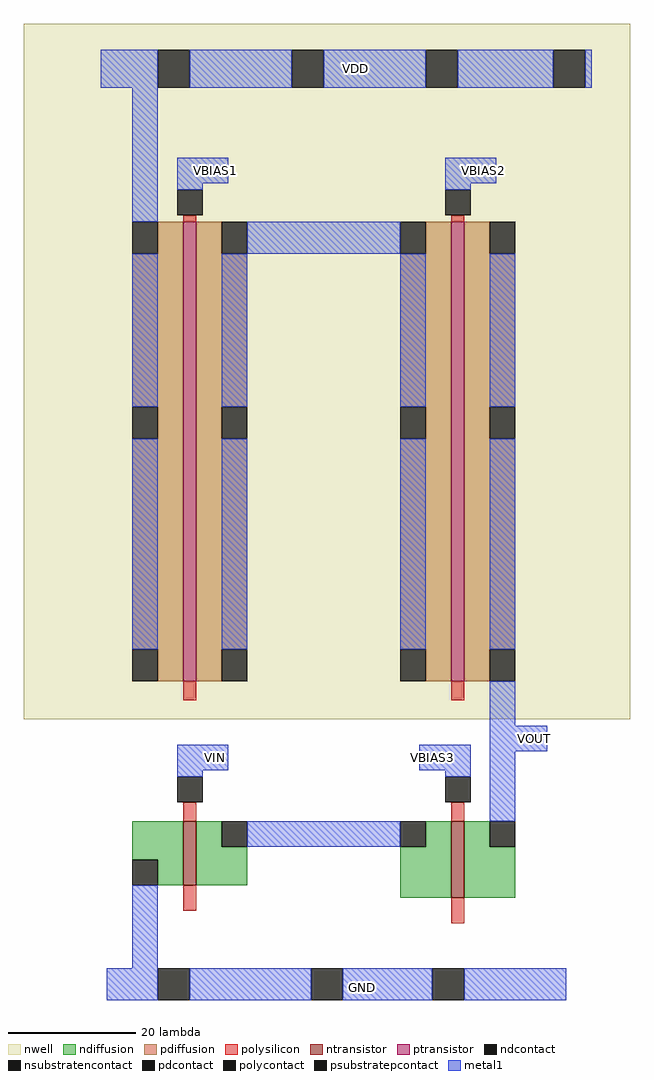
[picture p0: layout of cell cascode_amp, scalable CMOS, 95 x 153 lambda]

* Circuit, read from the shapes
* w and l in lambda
.subckt cascode_amp GND VBIAS1 VBIAS2 VBIAS3 VDD VIN VOUT
M1 n1 VIN GND GND nfet w=10 l=2
M2 VOUT VBIAS3 n1 GND nfet w=12 l=2
M3 n2 VBIAS1 VDD VDD pfet w=72 l=2
M4 VOUT VBIAS2 n2 VDD pfet w=72 l=2
.ends

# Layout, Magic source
magic
tech scmos
<< nwell >>
rect -17 -78 78 31
<< ntransistor >>
rect 8 -104 10 -94
rect 50 -106 52 -94
<< ptransistor >>
rect 8 -72 10 0
rect 50 -72 52 0
<< ndiffusion >>
rect 0 -100 8 -94
rect 4 -104 8 -100
rect 10 -98 14 -94
rect 10 -104 18 -98
rect 46 -98 50 -94
rect 42 -106 50 -98
rect 52 -98 56 -94
rect 52 -106 60 -98
<< pdiffusion >>
rect 4 -5 8 0
rect 0 -29 8 -5
rect 4 -34 8 -29
rect 0 -67 8 -34
rect 4 -72 8 -67
rect 10 -5 14 0
rect 10 -29 18 -5
rect 10 -34 14 -29
rect 10 -67 18 -34
rect 10 -72 14 -67
rect 46 -5 50 0
rect 42 -29 50 -5
rect 46 -34 50 -29
rect 42 -67 50 -34
rect 46 -72 50 -67
rect 52 -5 56 0
rect 52 -29 60 -5
rect 52 -34 56 -29
rect 52 -67 60 -34
rect 52 -72 56 -67
<< ndcontact >>
rect 0 -104 4 -100
rect 14 -98 18 -94
rect 42 -98 46 -94
rect 56 -98 60 -94
<< pdcontact >>
rect 0 -5 4 0
rect 0 -34 4 -29
rect 0 -72 4 -67
rect 14 -5 18 0
rect 14 -34 18 -29
rect 14 -72 18 -67
rect 42 -5 46 0
rect 42 -34 46 -29
rect 42 -72 46 -67
rect 56 -5 60 0
rect 56 -34 60 -29
rect 56 -72 60 -67
<< psubstratepcontact >>
rect 4 -122 9 -117
rect 28 -122 33 -117
rect 47 -122 52 -117
<< nsubstratencontact >>
rect 4 21 9 27
rect 25 21 30 27
rect 46 21 51 27
rect 66 21 71 27
<< polysilicon >>
rect 8 0 10 1
rect 50 0 52 1
rect 8 -75 10 -72
rect 50 -75 52 -72
rect 8 -94 10 -91
rect 50 -94 52 -91
rect 8 -108 10 -104
rect 50 -110 52 -106
<< polycontact >>
rect 7 1 11 5
rect 49 1 53 5
rect 7 -91 11 -87
rect 49 -91 53 -87
<< metal1 >>
rect -5 21 4 27
rect 9 21 25 27
rect 30 21 46 27
rect 51 21 66 27
rect 71 21 72 27
rect 0 0 4 21
rect 7 6 15 10
rect 49 6 57 10
rect 7 5 11 6
rect 49 5 53 6
rect 0 -29 4 -5
rect 0 -67 4 -34
rect 18 -5 42 0
rect 14 -29 18 -5
rect 14 -67 18 -34
rect 42 -29 46 -5
rect 42 -67 46 -34
rect 56 -29 60 -5
rect 56 -67 60 -34
rect 56 -79 60 -72
rect 7 -86 15 -82
rect 45 -86 53 -82
rect 7 -87 11 -86
rect 49 -87 53 -86
rect 56 -83 65 -79
rect 56 -94 60 -83
rect 18 -98 42 -94
rect 0 -117 4 -104
rect -4 -122 4 -117
rect 9 -122 28 -117
rect 33 -122 47 -117
rect 52 -122 68 -117
<< labels >>
rlabel metal1 35 24 35 24 1 VDD
rlabel metal1 36 -120 36 -120 1 GND
rlabel metal1 13 -84 13 -84 1 VIN
rlabel metal1 47 -84 47 -84 1 VBIAS3
rlabel metal1 55 8 55 8 1 VBIAS2
rlabel metal1 13 8 13 8 1 VBIAS1
rlabel metal1 63 -81 63 -81 1 VOUT
<< end >>
